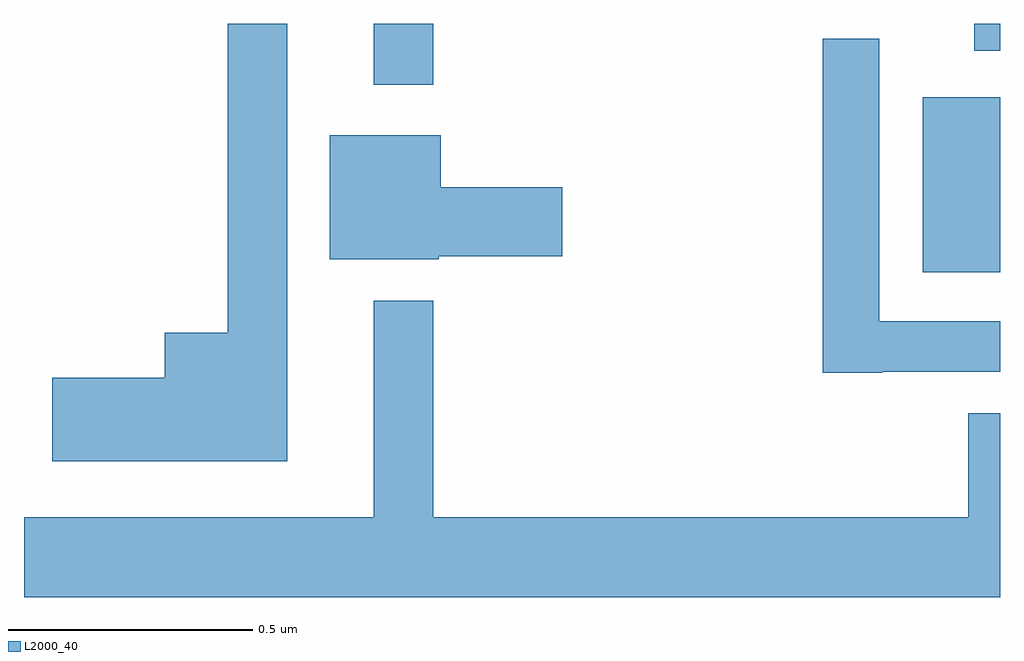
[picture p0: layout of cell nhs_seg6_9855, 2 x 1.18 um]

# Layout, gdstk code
import gdstk
lib = gdstk.Library(unit=1e-6, precision=1e-09)
def R(c, l, rs):  # rectangles x0, y0, x1, y1
    for r in rs: c.add(gdstk.rectangle(r[:2], r[2:], *l))
def P(c, l, *ps):  # polygons
    for p in ps: c.add(gdstk.Polygon(p, *l))
L2000_40 = (2000, 40)

nhs_seg6_9855 = lib.new_cell('nhs_seg6_9855')
R(nhs_seg6_9855, L2000_40, [(240.842,959.99,241,960.349), (239.717,960.375,239.839,960.5), (240.947,960.444,241,960.5)])
P(nhs_seg6_9855, L2000_40, [(239.539,960.5),(239.418,960.5),(239.418,959.866),(239.288,959.866),(239.288,959.774),(239.058,959.774),(239.058,959.603),(239.539,959.603)],
  [(240.76,959.786),(241,959.786),(241,959.89),(240.753,959.89),(240.753,960.469),(240.637,960.469),(240.637,959.784),(240.76,959.784)],
  [(239.85,960.023),(240.103,960.023),(240.103,960.165),(239.854,960.165),(239.854,960.271),(239.627,960.271),(239.627,960.017),(239.85,960.017)],
  [(241,959.701),(240.935,959.701),(240.935,959.488),(239.839,959.488),(239.839,959.932),(239.717,959.932),(239.717,959.488),(239,959.488),(239,959.324),(241,959.324)])

lib.write_gds('nhs_seg6_9855.gds')
